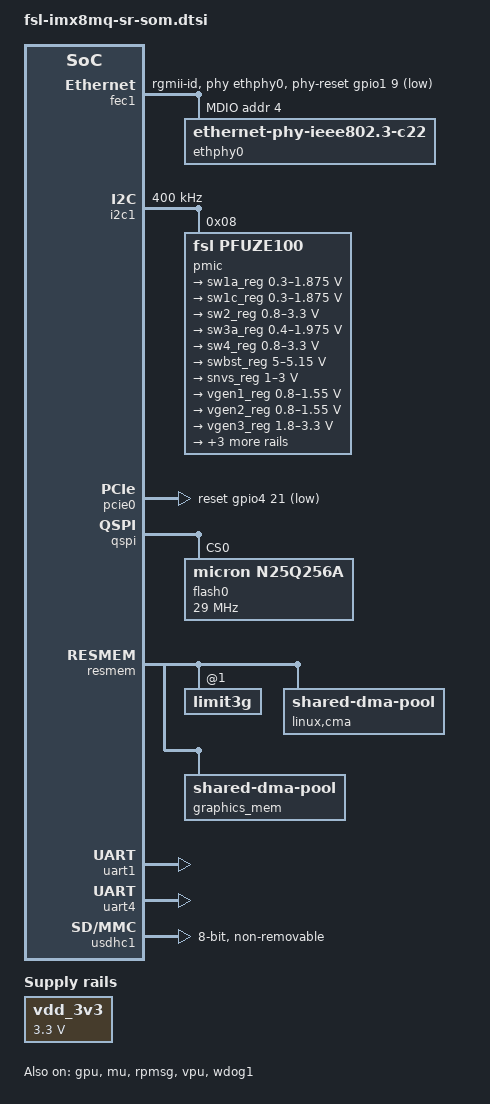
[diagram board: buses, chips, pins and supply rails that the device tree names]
/*
 * Copyright (C) 2018 Jon Nettleton <jon@solid-run.com>
 *
 * This file is dual-licensed: you can use it either under the terms
 * of the GPL or the X11 license, at your option. Note that this dual
 * licensing only applies to this file, and not this project as a
 * whole.
 *
 *  a) This file is free software; you can redistribute it and/or
 *     modify it under the terms of the GNU General Public License
 *     version 2 as published by the Free Software Foundation.
 *
 *     This file is distributed in the hope that it will be useful,
 *     but WITHOUT ANY WARRANTY; without even the implied warranty of
 *     MERCHANTABILITY or FITNESS FOR A PARTICULAR PURPOSE.  See the
 *     GNU General Public License for more details.
 *
 * Or, alternatively,
 *
 *  b) Permission is hereby granted, free of charge, to any person
 *     obtaining a copy of this software and associated documentation
 *     files (the "Software"), to deal in the Software without
 *     restriction, including without limitation the rights to use,
 *     copy, modify, merge, publish, distribute, sublicense, and/or
 *     sell copies of the Software, and to permit persons to whom the
 *     Software is furnished to do so, subject to the following
 *     conditions:
 *
 *     The above copyright notice and this permission notice shall be
 *     included in all copies or substantial portions of the Software.
 *
 *     THE SOFTWARE IS PROVIDED "AS IS", WITHOUT WARRANTY OF ANY KIND,
 *     EXPRESS OR IMPLIED, INCLUDING BUT NOT LIMITED TO THE WARRANTIES
 *     OF MERCHANTABILITY, FITNESS FOR A PARTICULAR PURPOSE AND
 *     NONINFRINGEMENT. IN NO EVENT SHALL THE AUTHORS OR COPYRIGHT
 *     HOLDERS BE LIABLE FOR ANY CLAIM, DAMAGES OR OTHER LIABILITY,
 *     WHETHER IN AN ACTION OF CONTRACT, TORT OR OTHERWISE, ARISING
 *     FROM, OUT OF OR IN CONNECTION WITH THE SOFTWARE OR THE USE OR
 *     OTHER DEALINGS IN THE SOFTWARE.
 */

/ {
	vdd_3v3: regulator-vdd-3v3 {
		compatible = "regulator-fixed";
		regulator-always-on;
		regulator-name = "vdd_3v3";
		regulator-min-microvolt = <3300000>;
		regulator-max-microvolt = <3300000>;
	};

	cpu0_opp_table: opp_table0 {
		compatible = "operating-points-v2";
		opp-shared;

		opp-1500000000 {
			opp-hz = /bits/ 64 <1500000000>;
			opp-microvolt = <1000000>;
			clock-latency-ns = <960000>;
		};
		opp-1300000000 {
			opp-hz = /bits/ 64 <1300000000>;
			opp-microvolt = <1000000>;
			clock-latency-ns = <640000>;
		};
		opp-1000000000 {
			opp-hz = /bits/ 64 <1000000000>;
			opp-microvolt = <1000000>;
			clock-latency-ns = <640000>;
			opp-suspend;
		};
		opp-800000000 {
			opp-hz = /bits/ 64 <800000000>;
			opp-microvolt = <10000000>;
			clock-latency-ns = <640000>;
		};
		opp-500000000 {
			opp-hz = /bits/ 64 <500000000>;
			opp-microvolt = <10000000>;
			clock-latency-ns = <640000>;
		};
	};

	cpus {
		idle-states {
			entry-method = "psci";

			CPU_SLEEP: cpu-sleep {
				compatible = "arm,idle-state";
				arm,psci-suspend-param = <0x0010033>;
				local-timer-stop;
				entry-latency-us = <1000>;
				exit-latency-us = <700>;
				min-residency-us = <2700>;
				wakeup-latency-us = <1500>;
			};
		};
	};
};

&A53_0 {
	operating-points-v2 = <&cpu0_opp_table>;
};

&A53_1 {
	operating-points-v2 = <&cpu0_opp_table>;
};

&A53_2 {
	operating-points-v2 = <&cpu0_opp_table>;
};

&A53_3 {
	operating-points-v2 = <&cpu0_opp_table>;
};

&csi1_bridge {
	fsl,mipi-mode;
	fsl,two-8bit-sensor-mode;
	status = "disabled";
};

&fec1 {
	pinctrl-names = "default";
	pinctrl-0 = <&pinctrl_fec1>;
	phy-mode = "rgmii-id";
	phy-handle = <&ethphy0>;
	phy-reset-gpios = <&gpio1 9 GPIO_ACTIVE_LOW>;
	phy-reset-duration = <2>;
	fsl,magic-packet;
	status = "okay";

	mdio {
		#address-cells = <1>;
		#size-cells = <0>;

		ethphy0: ethernet-phy@0 {
			compatible = "ethernet-phy-ieee802.3-c22";
			reg = <4>;
			at803x,led-act-blind-workaround;
			at803x,eee-disabled;
		};
	};
};

&gpu {
	reg = <0x0 0x38000000 0 0x40000>, <0x0 0x40000000 0x0 0xC0000000>, <0x0 0x0 0x0 0x2000000>;
        memory-region = <&graphics_mem>;
        status = "okay";
};

&gpu_pd {
        power-supply = <&sw1a_reg>;
};

&iomuxc {
	microsom {
		pinctrl_fec1: fec1grp {
			fsl,pins = <
				MX8MQ_IOMUXC_ENET_MDC_ENET1_MDC		0x3
				MX8MQ_IOMUXC_ENET_MDIO_ENET1_MDIO	0x23
				MX8MQ_IOMUXC_ENET_TD3_ENET1_RGMII_TD3	0x1f
				MX8MQ_IOMUXC_ENET_TD2_ENET1_RGMII_TD2	0x1f
				MX8MQ_IOMUXC_ENET_TD1_ENET1_RGMII_TD1	0x1f
				MX8MQ_IOMUXC_ENET_TD0_ENET1_RGMII_TD0	0x1f
				MX8MQ_IOMUXC_ENET_RD3_ENET1_RGMII_RD3	0x91
				MX8MQ_IOMUXC_ENET_RD2_ENET1_RGMII_RD2	0x91
				MX8MQ_IOMUXC_ENET_RD1_ENET1_RGMII_RD1	0x91
				MX8MQ_IOMUXC_ENET_RD0_ENET1_RGMII_RD0	0x91
				MX8MQ_IOMUXC_ENET_TXC_ENET1_RGMII_TXC	0x1f
				MX8MQ_IOMUXC_ENET_RXC_ENET1_RGMII_RXC	0x91
				MX8MQ_IOMUXC_ENET_RX_CTL_ENET1_RGMII_RX_CTL	0x91
				MX8MQ_IOMUXC_ENET_TX_CTL_ENET1_RGMII_TX_CTL	0x1f
				MX8MQ_IOMUXC_GPIO1_IO09_GPIO1_IO9	0x19
			>;
		};

		pinctrl_i2c1: i2c1grp {
			fsl,pins = <
				MX8MQ_IOMUXC_I2C1_SCL_I2C1_SCL			0x4000007f
				MX8MQ_IOMUXC_I2C1_SDA_I2C1_SDA			0x4000007f
			>;
		};

		pinctrl_pcie0: pcie0grp {
			fsl,pins = <
				MX8MQ_IOMUXC_I2C4_SCL_PCIE1_CLKREQ_B	0x74
				MX8MQ_IOMUXC_SPDIF_EXT_CLK_GPIO5_IO5	0x16
				MX8MQ_IOMUXC_SAI2_RXFS_GPIO4_IO21	0x16
			>;
		};

		pinctrl_qspi: qspigrp {
			fsl,pins = <
				MX8MQ_IOMUXC_NAND_ALE_QSPI_A_SCLK	0x82
				MX8MQ_IOMUXC_NAND_CE0_B_QSPI_A_SS0_B	0x82
				MX8MQ_IOMUXC_NAND_DATA00_QSPI_A_DATA0	0x82
				MX8MQ_IOMUXC_NAND_DATA01_QSPI_A_DATA1	0x82
				MX8MQ_IOMUXC_NAND_DATA02_QSPI_A_DATA2	0x82
				MX8MQ_IOMUXC_NAND_DATA03_QSPI_A_DATA3	0x82

			>;
		};

		pinctrl_uart1: uart1grp {
			fsl,pins = <
				MX8MQ_IOMUXC_UART1_RXD_UART1_DCE_RX		0x49
				MX8MQ_IOMUXC_UART1_TXD_UART1_DCE_TX		0x49
				MX8MQ_IOMUXC_NAND_CE1_B_GPIO3_IO2		0x19
			>;
		};

		pinctrl_uart4: uart4grp {
			fsl,pins = <
				MX8MQ_IOMUXC_UART4_TXD_UART4_DCE_TX		0x49
				MX8MQ_IOMUXC_UART4_RXD_UART4_DCE_RX		0x49
				MX8MQ_IOMUXC_SAI3_TXD_GPIO5_IO1			0x19
			>;
		};

		pinctrl_usdhc1: usdhc1grp {
			fsl,pins = <
				MX8MQ_IOMUXC_SD1_CLK_USDHC1_CLK			0x83
				MX8MQ_IOMUXC_SD1_CMD_USDHC1_CMD			0xc3
				MX8MQ_IOMUXC_SD1_DATA0_USDHC1_DATA0		0xc3
				MX8MQ_IOMUXC_SD1_DATA1_USDHC1_DATA1		0xc3
				MX8MQ_IOMUXC_SD1_DATA2_USDHC1_DATA2		0xc3
				MX8MQ_IOMUXC_SD1_DATA3_USDHC1_DATA3		0xc3
				MX8MQ_IOMUXC_SD1_DATA4_USDHC1_DATA4		0xc3
				MX8MQ_IOMUXC_SD1_DATA5_USDHC1_DATA5		0xc3
				MX8MQ_IOMUXC_SD1_DATA6_USDHC1_DATA6		0xc3
				MX8MQ_IOMUXC_SD1_DATA7_USDHC1_DATA7		0xc3
				MX8MQ_IOMUXC_SD1_STROBE_USDHC1_STROBE		0x83
				MX8MQ_IOMUXC_SD1_RESET_B_USDHC1_RESET_B		0xc1
			>;
		};

		pinctrl_usdhc1_100mhz: usdhc1grp100mhz {
			fsl,pins = <
				MX8MQ_IOMUXC_SD1_CLK_USDHC1_CLK			0x8d
				MX8MQ_IOMUXC_SD1_CMD_USDHC1_CMD			0xcd
				MX8MQ_IOMUXC_SD1_DATA0_USDHC1_DATA0		0xcd
				MX8MQ_IOMUXC_SD1_DATA1_USDHC1_DATA1		0xcd
				MX8MQ_IOMUXC_SD1_DATA2_USDHC1_DATA2		0xcd
				MX8MQ_IOMUXC_SD1_DATA3_USDHC1_DATA3		0xcd
				MX8MQ_IOMUXC_SD1_DATA4_USDHC1_DATA4		0xcd
				MX8MQ_IOMUXC_SD1_DATA5_USDHC1_DATA5		0xcd
				MX8MQ_IOMUXC_SD1_DATA6_USDHC1_DATA6		0xcd
				MX8MQ_IOMUXC_SD1_DATA7_USDHC1_DATA7		0xcd
				MX8MQ_IOMUXC_SD1_STROBE_USDHC1_STROBE		0x8d
				MX8MQ_IOMUXC_SD1_RESET_B_USDHC1_RESET_B		0xc1
			>;
		};

		pinctrl_usdhc1_200mhz: usdhc1grp200mhz {
			fsl,pins = <
				MX8MQ_IOMUXC_SD1_CLK_USDHC1_CLK			0x9f
				MX8MQ_IOMUXC_SD1_CMD_USDHC1_CMD			0xdf
				MX8MQ_IOMUXC_SD1_DATA0_USDHC1_DATA0		0xdf
				MX8MQ_IOMUXC_SD1_DATA1_USDHC1_DATA1		0xdf
				MX8MQ_IOMUXC_SD1_DATA2_USDHC1_DATA2		0xdf
				MX8MQ_IOMUXC_SD1_DATA3_USDHC1_DATA3		0xdf
				MX8MQ_IOMUXC_SD1_DATA4_USDHC1_DATA4		0xdf
				MX8MQ_IOMUXC_SD1_DATA5_USDHC1_DATA5		0xdf
				MX8MQ_IOMUXC_SD1_DATA6_USDHC1_DATA6		0xdf
				MX8MQ_IOMUXC_SD1_DATA7_USDHC1_DATA7		0xdf
				MX8MQ_IOMUXC_SD1_STROBE_USDHC1_STROBE		0x9f
				MX8MQ_IOMUXC_SD1_RESET_B_USDHC1_RESET_B		0xc1
			>;
		};

		pinctrl_wdog: wdoggrp {
			fsl,pins = <
				MX8MQ_IOMUXC_GPIO1_IO02_WDOG1_WDOG_B 0xc6
			>;
		};
	};
};

&i2c1 {
	clock-frequency = <400000>;
	pinctrl-names = "default";
	pinctrl-0 = <&pinctrl_i2c1>;
	status = "okay";

	pmic: pfuze100@08 {
		compatible = "fsl,pfuze100";
		reg = <0x08>;

		regulators {
			sw1a_reg: sw1ab {
				regulator-min-microvolt = <300000>;
				regulator-max-microvolt = <1875000>;
			};

			sw1c_reg: sw1c {
				regulator-min-microvolt = <300000>;
				regulator-max-microvolt = <1875000>;
			};

			sw2_reg: sw2 {
				regulator-min-microvolt = <800000>;
				regulator-max-microvolt = <3300000>;
				regulator-always-on;
			};

			sw3a_reg: sw3ab {
				regulator-min-microvolt = <400000>;
				regulator-max-microvolt = <1975000>;
				regulator-always-on;
			};

			sw4_reg: sw4 {
				regulator-min-microvolt = <800000>;
				regulator-max-microvolt = <3300000>;
				regulator-always-on;
			};

			swbst_reg: swbst {
				regulator-min-microvolt = <5000000>;
				regulator-max-microvolt = <5150000>;
			};

			snvs_reg: vsnvs {
				regulator-min-microvolt = <1000000>;
				regulator-max-microvolt = <3000000>;
				regulator-always-on;
			};

			vref_reg: vrefddr {
				regulator-always-on;
			};

			vgen1_reg: vgen1 {
				regulator-min-microvolt = <800000>;
				regulator-max-microvolt = <1550000>;
			};

			vgen2_reg: vgen2 {
				regulator-min-microvolt = <800000>;
				regulator-max-microvolt = <1550000>;
				regulator-always-on;
			};

			vgen3_reg: vgen3 {
				regulator-min-microvolt = <1800000>;
				regulator-max-microvolt = <3300000>;
				regulator-always-on;
			};

			vgen4_reg: vgen4 {
				regulator-min-microvolt = <1800000>;
				regulator-max-microvolt = <3300000>;
				regulator-always-on;
			};

			vgen5_reg: vgen5 {
				regulator-min-microvolt = <1800000>;
				regulator-max-microvolt = <3300000>;
				regulator-always-on;
			};

			vgen6_reg: vgen6 {
				regulator-min-microvolt = <1800000>;
				regulator-max-microvolt = <3300000>;
			};
		};
	};
};

&mipi_csi_1 {
	#address-cells = <1>;
	#size-cells = <0>;
	status = "disabled";
};

&mu {
	status = "okay";
};

&pcie0{
	clocks = <&clk IMX8MQ_CLK_PCIE1_ROOT>,
		<&clk IMX8MQ_CLK_PCIE1_AUX>,
		<&clk IMX8MQ_CLK_PCIE1_PHY>,
		<&clk IMX8MQ_CLK_CLK2_CG>;
	clock-names = "pcie", "pcie_aux", "pcie_phy", "pcie_bus";
	pinctrl-names = "default";
	pinctrl-0 = <&pinctrl_pcie0>;
	disable-gpio = <&gpio5 5 GPIO_ACTIVE_LOW>;
	reset-gpio = <&gpio4 21 GPIO_ACTIVE_LOW>;
	fsl,max-link-speed = <1>;
	hard-wired = <1>;
	status = "okay";
};

&qspi {
	pinctrl-names = "default";
	pinctrl-0 = <&pinctrl_qspi>;
	status = "okay";

	flash0: n25q256a@0 {
		reg = <0>;
		#address-cells = <1>;
		#size-cells = <1>;
		compatible = "micron,n25q256a";
		spi-max-frequency = <29000000>;
		spi-nor,ddr-quad-read-dummy = <6>;
	};
};

&resmem {
        limit3g@0x100000000 {
                no-map;
                reg = <1 0x00000000 0 0x40000000>;
        };

        /* global autoconfigured region for contiguous allocations */
        linux,cma {
                compatible = "shared-dma-pool";
                reusable;
                size = <0 0x2000000>;
                linux,cma-default;
        };

        graphics_mem: linux,gpu {
                compatible = "shared-dma-pool";
                reusable;
                size = <0 0xe000000>;
                alloc-ranges = <0 0x40000000 0 0x40000000>;
        };
};

&rpmsg {
	/*
	 * 64K for one rpmsg instance:
	 * --0xb8000000~0xb800ffff: pingpong
	 */
	vdev-nums = <1>;
	reg = <0x0 0xb8000000 0x0 0x10000>;
	status = "okay";
};

&uart1 { /* console */
	pinctrl-names = "default";
	pinctrl-0 = <&pinctrl_uart1>;
	assigned-clocks = <&clk IMX8MQ_CLK_UART1>;
	assigned-clock-parents = <&clk IMX8MQ_CLK_25M>;
	status = "okay";
};

&uart4 { /* ublox BT */
	pinctrl-names = "default";
	pinctrl-0 = <&pinctrl_uart4>;
	assigned-clocks = <&clk IMX8MQ_CLK_UART4>;
	assigned-clock-parents = <&clk IMX8MQ_SYS1_PLL_80M>;
	status = "okay";
};

&usdhc1 {
	pinctrl-names = "default", "state_100mhz", "state_200mhz";
	pinctrl-0 = <&pinctrl_usdhc1>;
	pinctrl-1 = <&pinctrl_usdhc1_100mhz>;
	pinctrl-2 = <&pinctrl_usdhc1_200mhz>;
	bus-width = <8>;
	non-removable;
	status = "okay";
};

&vpu {
        status = "okay";
};

&vpu_pd {
        power-supply = <&sw1c_reg>;
};

&wdog1 {
	pinctrl-names = "default";
	pinctrl-0 = <&pinctrl_wdog>;
	fsl,ext-reset-output;
	status = "okay";
};
